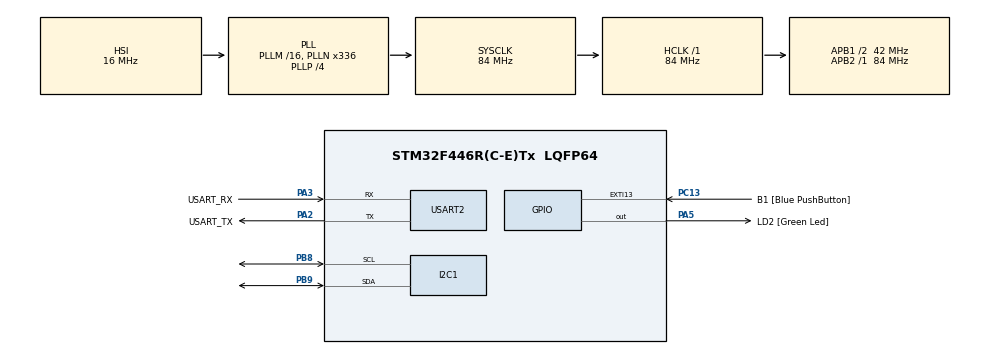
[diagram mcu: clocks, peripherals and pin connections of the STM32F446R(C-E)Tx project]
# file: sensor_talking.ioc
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Mcu.Family=STM32F4
Mcu.Name=STM32F446R(C-E)Tx
Mcu.Package=LQFP64
NVIC.PriorityGroup=NVIC_PRIORITYGROUP_0
PA13.GPIO_Label=TMS
PA13.Mode=Serial_Wire
PA13.Signal=SYS_JTMS-SWDIO
PA14.GPIO_Label=TCK
PA14.Mode=Serial_Wire
PA14.Signal=SYS_JTCK-SWCLK
PA2.GPIO_Label=USART_TX
PA2.Mode=Asynchronous
PA2.Signal=USART2_TX
PA3.GPIO_Label=USART_RX
PA3.Mode=Asynchronous
PA3.Signal=USART2_RX
PA5.GPIO_Label=LD2 [Green Led]
PA5.Signal=GPIO_Output
PB3.GPIO_Label=SWO
PB3.Signal=SYS_JTDO-SWO
PB8.Mode=I2C
PB8.Signal=I2C1_SCL
PB9.Mode=I2C
PB9.Signal=I2C1_SDA
PC13.GPIO_Label=B1 [Blue PushButton]
PC13.GPIO_ModeDefaultEXTI=GPIO_MODE_IT_FALLING
PC13.Signal=GPXTI13
PC14-OSC32_IN.Mode=LSE-External-Oscillator
PC14-OSC32_IN.Signal=RCC_OSC32_IN
PC15-OSC32_OUT.Mode=LSE-External-Oscillator
PC15-OSC32_OUT.Signal=RCC_OSC32_OUT
PH0-OSC_IN.Mode=HSE-External-Oscillator
PH0-OSC_IN.Signal=RCC_OSC_IN
PH1-OSC_OUT.Mode=HSE-External-Oscillator
PH1-OSC_OUT.Signal=RCC_OSC_OUT
ProjectManager.HeapSize=0x200
ProjectManager.StackSize=0x400
ProjectManager.TargetToolchain=STM32CubeIDE
RCC.48MHZClocksFreq_Value=84000000
RCC.AHBFreq_Value=84000000
RCC.APB1CLKDivider=RCC_HCLK_DIV2
RCC.APB1Freq_Value=42000000
RCC.APB1TimFreq_Value=84000000
RCC.APB2Freq_Value=84000000
RCC.APB2TimFreq_Value=84000000
RCC.CortexFreq_Value=84000000
RCC.FLatency-AdvancedSettings=FLASH_LATENCY_2
RCC.HCLKFreq_Value=84000000
RCC.HSE_VALUE=8000000
RCC.HSI_VALUE=16000000
RCC.PLLN=336
RCC.PLLP=RCC_PLLP_DIV4
RCC.SYSCLKFreq_VALUE=84000000
RCC.SYSCLKSource=RCC_SYSCLKSOURCE_PLLCLK
RCC.USBFreq_Value=168000000
RCC.VCOOutputFreq_Value=336000000
USART2.VirtualMode=VM_ASYNC
board=NUCLEO-F446RE

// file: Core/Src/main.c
/* USER CODE BEGIN Header */
/**
  ******************************************************************************
  * @file           : main.c
  * @brief          : Main program body
  ******************************************************************************
  * @attention
  *
  * Copyright (c) 2026 STMicroelectronics.
  * All rights reserved.
  *
  * This software is licensed under terms that can be found in the LICENSE file
  * in the root directory of this software component.
  * If no LICENSE file comes with this software, it is provided AS-IS.
  *
  ******************************************************************************
  */
/* USER CODE END Header */
#include "main.h"

/* USER CODE BEGIN Includes */

#include <stdio.h>
#include <string.h>

/* USER CODE END Includes */

I2C_HandleTypeDef hi2c1;

UART_HandleTypeDef huart2;

/* USER CODE BEGIN PV */

// --- I2C DEVICE HARDWARE ADDRESSES ---
#define MPU6050_ADDR         (0x68 << 1) // Left-shifted for HAL 8-bit addressing
#define BME280_ADDR          (0x76 << 1) // Change to (0x77 << 1) if your module requires it

// --- SENSOR REGISTER MAP ---
#define MPU6050_PWR_MGMT_1   0x6B
#define MPU6050_ACCEL_XOUT_H 0x3B
#define BME280_REG_DIG_T1    0x88        // Starting address of BME280 calibration data
#define BME280_REG_CTRL_MEAS 0xF4
#define BME280_REG_DATA      0xF7        // Press MSB, Press LSB, Press XLSB, Temp MSB...

// --- GLOBAL STORAGE VARIABLES ---
uint8_t i2c_buf[24];
int16_t raw_accel_x, raw_accel_y, raw_accel_z;
float accel_x, accel_y, accel_z;
float bme_temp, bme_press;

// --- BME280 FACTORY CALIBRATION CONSTANTS ---
uint16_t dig_T1; int16_t dig_T2, dig_T3;
uint16_t dig_P1; int16_t dig_P2, dig_P3, dig_P4, dig_P5, dig_P6, dig_P7, dig_P8, dig_P9;
int32_t  t_fine; // Shares temperature tracking cross-calculations dynamically

// --- LAST-READ SUCCESS FLAGS (diagnostic: distinguishes real sensor data
//     from stale cached values caused by a failed I2C transaction) ---
uint8_t accel_read_ok = 0;
uint8_t bme_read_ok = 0;

// --- I2C BUS RECOVERY TRACKING ---
uint16_t i2c_consec_fail_count = 0;   // resets to 0 on any successful read
uint32_t last_recovery_tick = 0;      // prevents recovery attempts back-to-back
#define I2C_FAIL_THRESHOLD 5          // consecutive failures before attempting recovery
#define I2C_RECOVERY_COOLDOWN_MS 500  // minimum gap between recovery attempts

// --- DEFERRED BUTTON EVENT ---
// The ISR only sets this flag; all real work (toggling state, printf) happens
// in the main loop. Interrupt handlers must stay short and non-blocking --
// calling printf() from inside an ISR can corrupt UART/I2C timing state.
volatile uint8_t button_event_pending = 0;

// --- START/STOP STREAMING CONTROL ---
volatile uint8_t streaming_active = 0;   // 0 = idle, 1 = printing data
volatile uint32_t last_button_tick = 0;  // for button debounce

/* USER CODE END PV */

void SystemClock_Config(void);
static void MX_GPIO_Init(void);
static void MX_I2C1_Init(void);
static void MX_USART2_UART_Init(void);
/* USER CODE BEGIN PFP */

void HAL_GPIO_EXTI_Callback(uint16_t GPIO_Pin);

/* USER CODE END PFP */

/* USER CODE BEGIN 0 */

#ifdef __GNUC__
#define PUTCHAR_PROTOTYPE int __io_putchar(int ch)
#else
#define PUTCHAR_PROTOTYPE int fputc(int ch, FILE *f)
#endif

PUTCHAR_PROTOTYPE
{
  HAL_UART_Transmit(&huart2, (uint8_t *)&ch, 1, 10);
  return ch;
}

// --- DECODER MATH: CONVERT RAW BME280 BYTES TO ACTUAL PHYSICAL VALUES ---
int32_t BME280_Compensate_T(int32_t adc_T) {
    int32_t var1, var2, T;
    var1 = ((((adc_T>>3) - ((int32_t)dig_T1<<1))) * ((int32_t)dig_T2)) >> 11;
    var2 = (((((adc_T>>4) - ((int32_t)dig_T1)) * ((adc_T>>4) - ((int32_t)dig_T1))) >> 12) * ((int32_t)dig_T3)) >> 14;
    t_fine = var1 + var2;
    T = (t_fine * 5 + 128) >> 8;
    return T;
}

uint32_t BME280_Compensate_P(int32_t adc_P) {
    int64_t var1, var2, p;
    var1 = ((int64_t)t_fine) - 128000;
    var2 = var1 * var1 * (int64_t)dig_P6;
    var2 = var2 + ((var1 * (int64_t)dig_P5) << 17);
    var2 = var2 + (((int64_t)dig_P4) << 31);
    var1 = ((var1 * var1 * (int64_t)dig_P3) >> 8) + ((var1 * (int64_t)dig_P2) << 12);
    var1 = (((((int64_t)1) << 47) + var1)) * ((int64_t)dig_P1) >> 33;
    if (var1 == 0) return 0; // Prevent fatal division-by-zero crashes
    p = 1048576 - adc_P;
    p = (((p << 31) - var2) * 3125) / var1;
    var1 = (((int64_t)dig_P9) * (p >> 13) * (p >> 13)) >> 25;
    var2 = (((int64_t)dig_P8) * p) >> 19;
    p = ((p + var1 + var2) >> 8) + (((int64_t)dig_P7) << 4);
    return (uint32_t)p;
}

// --- SAFE, NON-INTERRUPT WAY TO CHECK FOR AN "ENTER" KEYPRESS ---
// Polls the UART with a very short timeout so it never blocks the main loop
// for long, and never touches the NVIC/interrupt vector table.
static uint8_t Check_Enter_Pressed(void)
{
    uint8_t byte;
    if (HAL_UART_Receive(&huart2, &byte, 1, 5) == HAL_OK) // 5 ms timeout poll
    {
        if (byte == '\r' || byte == '\n') {
            return 1;
        }
    }
    return 0;
}

// --- SAFE I2C1 RE-INITIALIZATION (does NOT call Error_Handler on failure) ---
// Mirrors the register setup in MX_I2C1_Init(), but that CubeMX-generated
// function calls Error_Handler() -> __disable_irq(); while(1){} on failure,
// which would permanently freeze the whole MCU (including the button and
// UART) if the bus was still unhappy. This version just reports the result
// so the rest of the program (button, UART, main loop) keeps running.
static HAL_StatusTypeDef I2C1_SafeReinit(void)
{
    HAL_I2C_DeInit(&hi2c1);
    HAL_Delay(10);

    hi2c1.Instance = I2C1;
    hi2c1.Init.ClockSpeed = 100000;
    hi2c1.Init.DutyCycle = I2C_DUTYCYCLE_2;
    hi2c1.Init.OwnAddress1 = 0;
    hi2c1.Init.AddressingMode = I2C_ADDRESSINGMODE_7BIT;
    hi2c1.Init.DualAddressMode = I2C_DUALADDRESS_DISABLE;
    hi2c1.Init.OwnAddress2 = 0;
    hi2c1.Init.GeneralCallMode = I2C_GENERALCALL_DISABLE;
    hi2c1.Init.NoStretchMode = I2C_NOSTRETCH_DISABLE;

    HAL_StatusTypeDef status = HAL_I2C_Init(&hi2c1);
    HAL_Delay(10);
    return status; // caller decides what to do -- NEVER calls Error_Handler() here
}

// --- I2C BUS RECOVERY ---
// Called after several consecutive read failures in a row. Re-initializes the
// I2C peripheral (clears stuck HAL state) and re-wakes the MPU6050. This fixes
// software-level lockups; if the bus is physically stuck (SDA held low by a
// slave mid-transaction), a manual GPIO clock-out sequence would be needed
// instead, which requires knowing the exact I2C1 SCL/SDA pin assignment.
static void I2C_Bus_Recover(void)
{
    printf("!!! I2C BUS RECOVERY TRIGGERED after %u consecutive failures !!!\r\n", i2c_consec_fail_count);
    fflush(stdout);

    HAL_StatusTypeDef status = I2C1_SafeReinit();

    if (status == HAL_OK) {
        // Re-wake the MPU6050 in case its internal state needs to be reasserted
        uint8_t wake_buf[2] = { MPU6050_PWR_MGMT_1, 0x00 };
        HAL_I2C_Master_Transmit(&hi2c1, MPU6050_ADDR, wake_buf, 2, 100);
        printf("I2C recovery: peripheral re-initialized OK.\r\n");
    } else {
        printf("I2C recovery FAILED (HAL status %d) -- check wiring/connections. Will keep retrying.\r\n", (int)status);
    }
    fflush(stdout);

    i2c_consec_fail_count = 0;
    last_recovery_tick = HAL_GetTick();
}

// --- SHARED START/STOP LOGIC ---
// Called ONLY from the main loop (never from an ISR) so printf/blocking UART
// calls never run inside interrupt context.
static void Handle_Streaming_Toggle(void)
{
    streaming_active = !streaming_active;
    HAL_GPIO_TogglePin(LD2_GPIO_Port, LD2_Pin); // visual confirmation, independent of terminal
    if (streaming_active) {
        printf("--- STREAMING STARTED ---\r\n");
        printf("AccelX_g,AccelY_g,AccelZ_g,Temp_C,Press_hPa,AccelOK,BmeOK\r\n");
    } else {
        printf("--- STREAMING STOPPED ---\r\n");
    }
    fflush(stdout);
}

/* USER CODE END 0 */

int main(void)
{

  /* MCU Configuration--------------------------------------------------------*/

  /* Reset of all peripherals, Initializes the Flash interface and the Systick. */
  HAL_Init();

  /* Configure the system clock */
  SystemClock_Config();

  /* Initialize all configured peripherals */
  MX_GPIO_Init();
  MX_I2C1_Init();
  MX_USART2_UART_Init();
  /* USER CODE BEGIN 2 */

  // Force UNBUFFERED stdout: without this, printf() output can sit in an
  // internal buffer indefinitely and never actually reach the UART, since
  // this stream is not recognized as a real terminal by the C library.
  setvbuf(stdout, NULL, _IONBF, 0);

  HAL_Delay(500); // Give lines time to physically settle completely

  // 1. WAKE UP MPU6050: Write 0x00 to register 0x6B (Power Management)
  i2c_buf[0] = MPU6050_PWR_MGMT_1;
  i2c_buf[1] = 0x00;
  if (HAL_I2C_Master_Transmit(&hi2c1, MPU6050_ADDR, i2c_buf, 2, 100) != HAL_OK) {
      printf("BUS_ERROR: MPU6050 Init Failed\r\n");
  }

  // 2. READ BME280 FACTORY CALIBRATION PARAMS (24 consecutive memory bytes)
  i2c_buf[0] = BME280_REG_DIG_T1;
  HAL_I2C_Master_Transmit(&hi2c1, BME280_ADDR, i2c_buf, 1, 100);
  if (HAL_I2C_Master_Receive(&hi2c1, BME280_ADDR, i2c_buf, 24, 100) == HAL_OK) {
      dig_T1 = (i2c_buf[1] << 8) | i2c_buf[0];
      dig_T2 = (i2c_buf[3] << 8) | i2c_buf[2];
      dig_T3 = (i2c_buf[5] << 8) | i2c_buf[4];
      dig_P1 = (i2c_buf[7] << 8) | i2c_buf[6];
      dig_P2 = (i2c_buf[9] << 8) | i2c_buf[8];
      dig_P3 = (i2c_buf[11] << 8) | i2c_buf[10];
      dig_P4 = (i2c_buf[13] << 8) | i2c_buf[12];
      dig_P5 = (i2c_buf[15] << 8) | i2c_buf[14];
      dig_P6 = (i2c_buf[17] << 8) | i2c_buf[16];
      dig_P7 = (i2c_buf[19] << 8) | i2c_buf[18];
      dig_P8 = (i2c_buf[21] << 8) | i2c_buf[20];
      dig_P9 = (i2c_buf[23] << 8) | i2c_buf[22];
  } else {
      printf("BUS_ERROR: BME280 Calib Table Read Failed\r\n");
  }
  fflush(stdout);

  // Print column header once, then wait for the user to start streaming
  printf("AccelX_g,AccelY_g,AccelZ_g,Temp_C,Press_hPa,AccelOK,BmeOK\r\n");
  printf("AccelOK/BmeOK: 1 = fresh reading this cycle, 0 = I2C read failed (value is stale)\r\n");
  printf("Press ENTER in the terminal or the blue User button (B1) to START/STOP logging.\r\n");
  fflush(stdout);

  /* USER CODE END 2 */

  /* Infinite loop */
  /* USER CODE BEGIN WHILE */
  while (1)
  {

	  // Non-blocking-ish check for "Enter" pressed in the terminal (5 ms max wait)
	  if (Check_Enter_Pressed())
	  {
	        streaming_active = !streaming_active;
	        HAL_GPIO_TogglePin(LD2_GPIO_Port, LD2_Pin); // visual confirmation, independent of terminal
	        if (streaming_active) {
	            printf("--- STREAMING STARTED ---\r\n");
	            printf("AccelX_g,AccelY_g,AccelZ_g,Temp_C,Press_hPa,AccelOK,BmeOK\r\n");
	        } else {
	            printf("--- STREAMING STOPPED ---\r\n");
	        }
	        fflush(stdout);
	  }

	  if (streaming_active)
	  {
	        // ----------------------------------------------------------------------
	        // STEP A: POLL THE MOTION CHIP (MPU6050 Continuous Read)
	        // ----------------------------------------------------------------------
	        i2c_buf[0] = MPU6050_ACCEL_XOUT_H;
	        HAL_I2C_Master_Transmit(&hi2c1, MPU6050_ADDR, i2c_buf, 1, 50);
	        if (HAL_I2C_Master_Receive(&hi2c1, MPU6050_ADDR, i2c_buf, 6, 50) == HAL_OK) {
	            accel_read_ok = 1;
	            raw_accel_x = (int16_t)((i2c_buf[0] << 8) | i2c_buf[1]);
	            raw_accel_y = (int16_t)((i2c_buf[2] << 8) | i2c_buf[3]);
	            raw_accel_z = (int16_t)((i2c_buf[4] << 8) | i2c_buf[5]);

	            accel_x = (float)raw_accel_x / 16384.0f;
	            accel_y = (float)raw_accel_y / 16384.0f;
	            accel_z = (float)raw_accel_z / 16384.0f;
	        } else {
	            accel_read_ok = 0; // keeps last-known values, but flags them as stale
	        }

	        // ----------------------------------------------------------------------
	        // STEP B: TRIGGER CLIMATE SNAPSHOT (BME280 Forced Mode Activation)
	        // ----------------------------------------------------------------------
	        i2c_buf[0] = BME280_REG_CTRL_MEAS;
	        i2c_buf[1] = 0x25; // Temp oversampling x1, Press oversampling x1, Forced Mode
	        HAL_I2C_Master_Transmit(&hi2c1, BME280_ADDR, i2c_buf, 2, 50);

	        HAL_Delay(10); // Give the sensor a brief window to complete conversion math

	        // ----------------------------------------------------------------------
	        // STEP C: READ OUT CLIMATE MEASUREMENTS
	        // ----------------------------------------------------------------------
	        i2c_buf[0] = BME280_REG_DATA;
	        HAL_I2C_Master_Transmit(&hi2c1, BME280_ADDR, i2c_buf, 1, 50);
	        if (HAL_I2C_Master_Receive(&hi2c1, BME280_ADDR, i2c_buf, 6, 50) == HAL_OK) {
	            bme_read_ok = 1;
	            int32_t raw_press = (int32_t)((i2c_buf[0] << 12) | (i2c_buf[1] << 4) | (i2c_buf[2] >> 4));
	            int32_t raw_temp  = (int32_t)((i2c_buf[3] << 12) | (i2c_buf[4] << 4) | (i2c_buf[5] >> 4));

	            bme_temp  = (float)BME280_Compensate_T(raw_temp) / 100.0f;
	            bme_press = (float)BME280_Compensate_P(raw_press) / 256.0f / 100.0f;
	        } else {
	            bme_read_ok = 0; // keeps last-known values, but flags them as stale
	        }

	        // ----------------------------------------------------------------------
	        // I2C HEALTH CHECK: recover automatically if reads keep failing
	        // ----------------------------------------------------------------------
	        if (accel_read_ok && bme_read_ok) {
	            i2c_consec_fail_count = 0;
	        } else {
	            i2c_consec_fail_count++;
	            if (i2c_consec_fail_count >= I2C_FAIL_THRESHOLD &&
	                (HAL_GetTick() - last_recovery_tick) > I2C_RECOVERY_COOLDOWN_MS) {
	                I2C_Bus_Recover();
	            }
	        }

	        // ----------------------------------------------------------------------
	        // STEP D: EMIT MACHINE-READABLE CSV FRAME
	        // ----------------------------------------------------------------------
	        printf("%.3f,%.3f,%.3f,%.2f,%.2f,%d,%d\r\n", accel_x, accel_y, accel_z, bme_temp, bme_press, accel_read_ok, bme_read_ok);
	        fflush(stdout);

	        HAL_Delay(90); // Controls overall output speed (~10 samples per second)
	  }
	  else
	  {
	        HAL_Delay(20); // Idle: avoid busy-spinning while waiting to start
	  }

    /* USER CODE END WHILE */

  }
}

void SystemClock_Config(void)
{
  RCC_OscInitTypeDef RCC_OscInitStruct = {0};
  RCC_ClkInitTypeDef RCC_ClkInitStruct = {0};

  /** Configure the main internal regulator output voltage
  */
  __HAL_RCC_PWR_CLK_ENABLE();
  __HAL_PWR_VOLTAGESCALING_CONFIG(PWR_REGULATOR_VOLTAGE_SCALE3);

  /** Initializes the RCC Oscillators according to the specified parameters
  * in the RCC_OscInitTypeDef structure.
  */
  RCC_OscInitStruct.OscillatorType = RCC_OSCILLATORTYPE_HSI;
  RCC_OscInitStruct.HSIState = RCC_HSI_ON;
  RCC_OscInitStruct.HSICalibrationValue = RCC_HSICALIBRATION_DEFAULT;
  RCC_OscInitStruct.PLL.PLLState = RCC_PLL_ON;
  RCC_OscInitStruct.PLL.PLLSource = RCC_PLLSOURCE_HSI;
  RCC_OscInitStruct.PLL.PLLM = 16;
  RCC_OscInitStruct.PLL.PLLN = 336;
  RCC_OscInitStruct.PLL.PLLP = RCC_PLLP_DIV4;
  RCC_OscInitStruct.PLL.PLLQ = 2;
  RCC_OscInitStruct.PLL.PLLR = 2;
  if (HAL_RCC_OscConfig(&RCC_OscInitStruct) != HAL_OK)
  {
    Error_Handler();
  }

  /** Initializes the CPU, AHB and APB buses clocks
  */
  RCC_ClkInitStruct.ClockType = RCC_CLOCKTYPE_HCLK|RCC_CLOCKTYPE_SYSCLK
                              |RCC_CLOCKTYPE_PCLK1|RCC_CLOCKTYPE_PCLK2;
  RCC_ClkInitStruct.SYSCLKSource = RCC_SYSCLKSOURCE_PLLCLK;
  RCC_ClkInitStruct.AHBCLKDivider = RCC_SYSCLK_DIV1;
  RCC_ClkInitStruct.APB1CLKDivider = RCC_HCLK_DIV2;
  RCC_ClkInitStruct.APB2CLKDivider = RCC_HCLK_DIV1;

  if (HAL_RCC_ClockConfig(&RCC_ClkInitStruct, FLASH_LATENCY_2) != HAL_OK)
  {
    Error_Handler();
  }
}

static void MX_I2C1_Init(void)
{

  hi2c1.Instance = I2C1;
  hi2c1.Init.ClockSpeed = 100000;
  hi2c1.Init.DutyCycle = I2C_DUTYCYCLE_2;
  hi2c1.Init.OwnAddress1 = 0;
  hi2c1.Init.AddressingMode = I2C_ADDRESSINGMODE_7BIT;
  hi2c1.Init.DualAddressMode = I2C_DUALADDRESS_DISABLE;
  hi2c1.Init.OwnAddress2 = 0;
  hi2c1.Init.GeneralCallMode = I2C_GENERALCALL_DISABLE;
  hi2c1.Init.NoStretchMode = I2C_NOSTRETCH_DISABLE;
  if (HAL_I2C_Init(&hi2c1) != HAL_OK)
  {
    Error_Handler();
  }

}

static void MX_USART2_UART_Init(void)
{

  huart2.Instance = USART2;
  huart2.Init.BaudRate = 115200;
  huart2.Init.WordLength = UART_WORDLENGTH_8B;
  huart2.Init.StopBits = UART_STOPBITS_1;
  huart2.Init.Parity = UART_PARITY_NONE;
  huart2.Init.Mode = UART_MODE_TX_RX;
  huart2.Init.HwFlowCtl = UART_HWCONTROL_NONE;
  huart2.Init.OverSampling = UART_OVERSAMPLING_16;
  if (HAL_UART_Init(&huart2) != HAL_OK)
  {
    Error_Handler();
  }

}

static void MX_GPIO_Init(void)
{
  GPIO_InitTypeDef GPIO_InitStruct = {0};

  /* GPIO Ports Clock Enable */
  __HAL_RCC_GPIOC_CLK_ENABLE();
  __HAL_RCC_GPIOH_CLK_ENABLE();
  __HAL_RCC_GPIOA_CLK_ENABLE();
  __HAL_RCC_GPIOB_CLK_ENABLE();

  /*Configure GPIO pin Output Level */
  HAL_GPIO_WritePin(LD2_GPIO_Port, LD2_Pin, GPIO_PIN_RESET);

  /*Configure GPIO pin : B1_Pin */
  GPIO_InitStruct.Pin = B1_Pin;
  GPIO_InitStruct.Mode = GPIO_MODE_IT_FALLING;
  GPIO_InitStruct.Pull = GPIO_NOPULL;
  HAL_GPIO_Init(B1_GPIO_Port, &GPIO_InitStruct);

  /*Configure GPIO pin : LD2_Pin */
  GPIO_InitStruct.Pin = LD2_Pin;
  GPIO_InitStruct.Mode = GPIO_MODE_OUTPUT_PP;
  GPIO_InitStruct.Pull = GPIO_NOPULL;
  GPIO_InitStruct.Speed = GPIO_SPEED_FREQ_LOW;
  HAL_GPIO_Init(LD2_GPIO_Port, &GPIO_InitStruct);

  /* USER CODE BEGIN MX_GPIO_Init_2 */

  // Ensure the EXTI interrupt for B1 (blue User button) is enabled at the NVIC.
  // Harmless if already enabled elsewhere (e.g. by CubeMX-generated code).
  HAL_NVIC_SetPriority(EXTI15_10_IRQn, 2, 0);
  HAL_NVIC_EnableIRQ(EXTI15_10_IRQn);

  /* USER CODE END MX_GPIO_Init_2 */
}

/* USER CODE BEGIN 4 */

/**
  * @brief  Called by the HAL when a configured EXTI line fires. B1 (blue User
  *         button) is wired to a falling-edge interrupt. A simple 200 ms
  *         software debounce prevents a single physical press from being
  *         read as several rapid toggles.
  */
void HAL_GPIO_EXTI_Callback(uint16_t GPIO_Pin)
{
  if (GPIO_Pin == B1_Pin)
  {
    uint32_t now = HAL_GetTick();
    if ((now - last_button_tick) > 200)
    {
      last_button_tick = now;
      streaming_active = !streaming_active;
      HAL_GPIO_TogglePin(LD2_GPIO_Port, LD2_Pin); // visual confirmation, independent of terminal
      if (streaming_active) {
        printf("--- STREAMING STARTED ---\r\n");
        printf("AccelX_g,AccelY_g,AccelZ_g,Temp_C,Press_hPa,AccelOK,BmeOK\r\n");
      } else {
        printf("--- STREAMING STOPPED ---\r\n");
      }
      fflush(stdout);
    }
  }
}

/* USER CODE END 4 */

void Error_Handler(void)
{
  __disable_irq();
  while (1)
  {
  }
}
